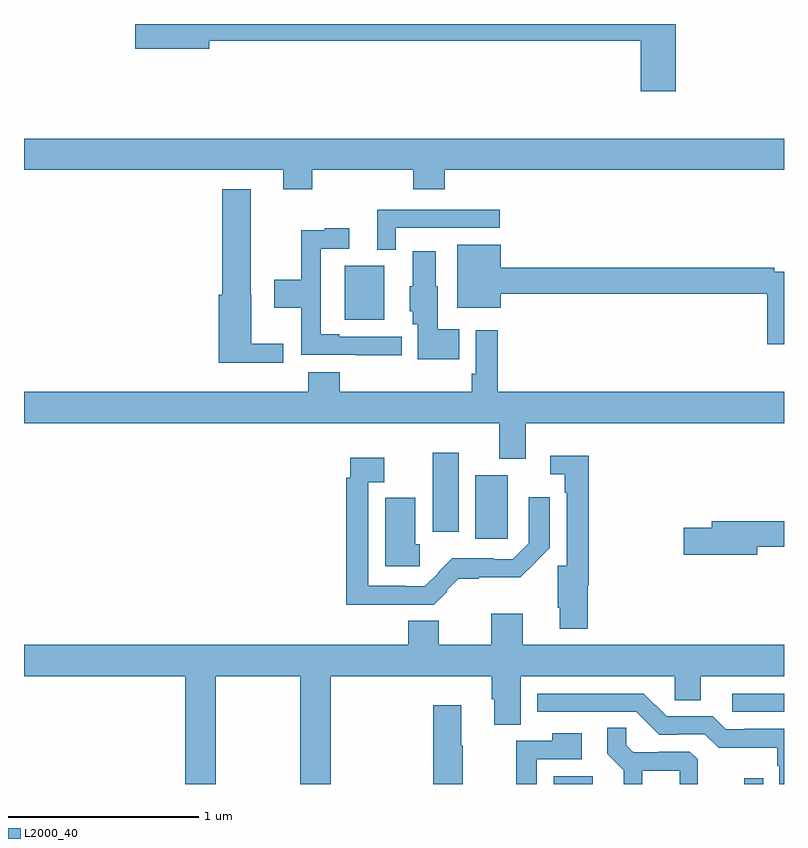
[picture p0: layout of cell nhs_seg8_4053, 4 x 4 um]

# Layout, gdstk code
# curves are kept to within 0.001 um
import gdstk
lib = gdstk.Library(unit=1e-6, precision=1e-09)
def R(c, l, rs):  # rectangles x0, y0, x1, y1
    for r in rs: c.add(gdstk.rectangle(r[:2], r[2:], *l))
def P(c, l, *ps):  # polygons
    for p in ps: c.add(gdstk.Polygon(p, *l))
L2000_40 = (2000, 40)

nhs_seg8_4053 = lib.new_cell('nhs_seg8_4053')
R(nhs_seg8_4053, L2000_40, [(361.787,1147.9,361.993,1147.942), (362.79,1147.9,362.891,1147.93), (362.727,1148.28,363,1148.376), (361.376,1149.192,361.546,1149.526), (361.151,1149.228,361.288,1149.643), (360.689,1150.343,360.895,1150.627)])
P(nhs_seg8_4053, L2000_40, [(362.429,1151.9),(359.586,1151.9),(359.586,1151.77),(359.974,1151.77),(359.974,1151.812),(362.246,1151.812),(362.246,1151.547),(362.429,1151.547)],
  [(360.518,1151.132),(361.049,1151.132),(361.049,1151.03),(361.214,1151.03),(361.214,1151.132),(363,1151.132),(363,1151.296),(359,1151.296),(359,1151.132),(360.365,1151.132),(360.365,1151.03),(360.518,1151.03)],
  [(360.364,1150.217),(360.196,1150.217),(360.196,1150.476),(360.193,1150.476),(360.193,1151.029),(360.044,1151.029),(360.044,1150.476),(360.026,1150.476),(360.026,1150.118),(360.364,1150.118)],
  [(360.957,1150.827),(361.504,1150.827),(361.504,1150.923),(360.86,1150.923),(360.86,1150.712),(360.957,1150.712)],
  [(360.988,1150.254),(360.658,1150.254),(360.658,1150.267),(360.561,1150.267),(360.561,1150.716),(360.712,1150.716),(360.712,1150.825),(360.584,1150.825),(360.584,1150.814),(360.46,1150.814),(360.46,1150.554),(360.318,1150.554),(360.318,1150.406),(360.46,1150.406),(360.46,1150.158),(360.745,1150.158),(360.745,1150.157),(360.988,1150.157)],
  [(363,1150.596),(362.948,1150.596),(362.948,1150.616),(361.51,1150.616),(361.51,1150.738),(361.28,1150.738),(361.28,1150.406),(361.51,1150.406),(361.51,1150.48),(362.912,1150.48),(362.912,1150.215),(363,1150.215)],
  [(361.292,1150.294),(361.177,1150.294),(361.177,1150.521),(361.168,1150.521),(361.168,1150.705),(361.046,1150.705),(361.046,1150.521),(361.031,1150.521),(361.031,1150.389),(361.046,1150.389),(361.046,1150.32),(361.073,1150.32),(361.073,1150.136),(361.292,1150.136)],
  [(361.642,1149.8),(363,1149.8),(363,1149.964),(361.493,1149.964),(361.493,1150.288),(361.377,1150.288),(361.377,1150.06),(361.357,1150.06),(361.357,1149.964),(360.662,1149.964),(360.662,1150.066),(360.497,1150.066),(360.497,1149.964),(359,1149.964),(359,1149.8),(361.502,1149.8),(361.502,1149.611),(361.642,1149.611)],
  [(361.967,1148.945),(361.973,1148.945),(361.973,1149.628),(361.77,1149.628),(361.77,1149.531),(361.845,1149.531),(361.845,1149.434),(361.857,1149.434),(361.857,1149.048),(361.808,1149.048),(361.808,1148.827),(361.82,1148.827),(361.82,1148.717),(361.967,1148.717)],
  [(361.227,1148.913),(361.223,1148.917),(361.285,1148.979),(361.393,1148.979),(361.393,1148.987),(361.613,1148.987),(361.768,1149.144),(361.768,1149.409),(361.656,1149.409),(361.656,1149.168),(361.572,1149.084),(361.472,1149.084),(361.472,1149.089),(361.253,1149.089),(361.179,1149.015),(361.182,1149.012),(361.11,1148.94),(361.01,1148.94),(361.01,1148.944),(360.813,1148.944),(360.813,1149.488),(360.896,1149.488),(360.896,1149.616),(360.717,1149.616),(360.717,1149.512),(360.697,1149.512),(360.697,1148.843),(361.157,1148.843)],
  [(361.083,1149.162),(361.06,1149.162),(361.06,1149.407),(360.902,1149.407),(360.902,1149.045),(361.083,1149.045)],
  [(362.86,1149.148),(363,1149.148),(363,1149.284),(362.621,1149.284),(362.621,1149.248),(362.472,1149.248),(362.472,1149.106),(362.86,1149.106)],
  [(360.009,1148.468),(360.454,1148.468),(360.454,1147.9),(360.614,1147.9),(360.614,1148.468),(361.463,1148.468),(361.463,1148.346),(361.475,1148.346),(361.475,1148.212),(361.615,1148.212),(361.615,1148.468),(362.424,1148.468),(362.424,1148.341),(362.563,1148.341),(362.563,1148.468),(363,1148.468),(363,1148.632),(361.624,1148.632),(361.624,1148.797),(361.46,1148.797),(361.46,1148.632),(361.183,1148.632),(361.183,1148.758),(361.022,1148.758),(361.022,1148.632),(359,1148.632),(359,1148.468),(359.849,1148.468),(359.849,1147.9),(360.009,1147.9)],
  [(363,1148.19),(362.794,1148.19),(362.794,1148.187),(362.694,1148.187),(362.625,1148.256),(362.382,1148.256),(362.262,1148.376),(361.7,1148.376),(361.7,1148.28),(362.223,1148.28),(362.343,1148.16),(362.444,1148.16),(362.444,1148.163),(362.583,1148.163),(362.656,1148.09),(362.964,1148.09),(362.964,1147.997),(362.976,1147.997),(362.976,1147.9),(363,1147.9)],
  [(361.308,1148.101),(361.3,1148.101),(361.3,1148.314),(361.154,1148.314),(361.154,1147.9),(361.308,1147.9)],
  [(362.255,1147.97),(362.452,1147.97),(362.452,1147.9),(362.546,1147.9),(362.546,1148.029),(362.505,1148.07),(362.34,1148.07),(362.34,1148.067),(362.206,1148.067),(362.169,1148.104),(362.169,1148.195),(362.071,1148.195),(362.071,1148.059),(362.157,1147.973),(362.157,1147.9),(362.255,1147.9)],
  [(361.698,1148.031),(361.936,1148.031),(361.936,1148.167),(361.78,1148.167),(361.78,1148.127),(361.59,1148.127),(361.59,1147.9),(361.698,1147.9)])

lib.write_gds('nhs_seg8_4053.gds')
